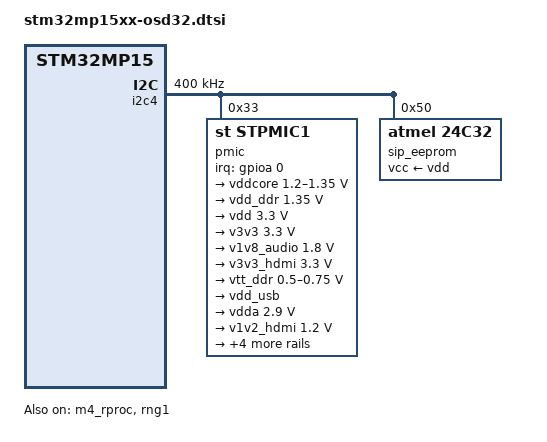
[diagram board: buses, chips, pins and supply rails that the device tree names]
/* SPDX-License-Identifier: (GPL-2.0-or-later OR BSD-3-Clause) */
/*
 * Copyright (C) 2020 STMicroelectronics - All Rights Reserved
 * Copyright (C) 2020 Ahmad Fatoum, Pengutronix
 */

#include "stm32mp15-pinctrl.dtsi"

#include <dt-bindings/mfd/st,stpmic1.h>

/ {
	reserved-memory {
		#address-cells = <1>;
		#size-cells = <1>;
		ranges;

		mcuram2: mcuram2@10000000 {
			compatible = "shared-dma-pool";
			reg = <0x10000000 0x40000>;
			no-map;
		};

		vdev0vring0: vdev0vring0@10040000 {
			compatible = "shared-dma-pool";
			reg = <0x10040000 0x1000>;
			no-map;
		};

		vdev0vring1: vdev0vring1@10041000 {
			compatible = "shared-dma-pool";
			reg = <0x10041000 0x1000>;
			no-map;
		};

		vdev0buffer: vdev0buffer@10042000 {
			compatible = "shared-dma-pool";
			reg = <0x10042000 0x4000>;
			no-map;
		};

		mcuram: mcuram@30000000 {
			compatible = "shared-dma-pool";
			reg = <0x30000000 0x40000>;
			no-map;
		};

		retram: retram@38000000 {
			compatible = "shared-dma-pool";
			reg = <0x38000000 0x10000>;
			no-map;
		};
	};
};

&i2c4 {
	pinctrl-names = "default", "sleep";
	pinctrl-0 = <&i2c4_pins_a>;
	pinctrl-1 = <&i2c4_sleep_pins_a>;
	clock-frequency = <400000>;
	i2c-scl-rising-time-ns = <185>;
	i2c-scl-falling-time-ns = <20>;
	status = "okay";

	pmic: stpmic@33 {
		compatible = "st,stpmic1";
		reg = <0x33>;
		interrupts-extended = <&gpioa 0 IRQ_TYPE_EDGE_FALLING>;
		interrupt-controller;
		#interrupt-cells = <2>;

		regulators {
			compatible = "st,stpmic1-regulators";

			ldo1-supply = <&v3v3>;
			ldo3-supply = <&vdd_ddr>;
			ldo6-supply = <&v3v3>;
			pwr_sw1-supply = <&bst_out>;

			vddcore: buck1 {
				regulator-name = "vddcore";
				regulator-min-microvolt = <1200000>;
				regulator-max-microvolt = <1350000>;
				regulator-always-on;
				regulator-initial-mode = <0>;
				regulator-over-current-protection;
			};

			vdd_ddr: buck2 {
				regulator-name = "vdd_ddr";
				regulator-min-microvolt = <1350000>;
				regulator-max-microvolt = <1350000>;
				regulator-always-on;
				regulator-initial-mode = <0>;
				regulator-over-current-protection;
			};

			vdd: buck3 {
				regulator-name = "vdd";
				regulator-min-microvolt = <3300000>;
				regulator-max-microvolt = <3300000>;
				regulator-always-on;
				st,mask-reset;
				regulator-initial-mode = <0>;
				regulator-over-current-protection;
			};

			v3v3: buck4 {
				regulator-name = "v3v3";
				regulator-min-microvolt = <3300000>;
				regulator-max-microvolt = <3300000>;
				regulator-always-on;
				regulator-over-current-protection;
				regulator-initial-mode = <0>;
			};

			v1v8_audio: ldo1 {
				regulator-name = "v1v8_audio";
				regulator-min-microvolt = <1800000>;
				regulator-max-microvolt = <1800000>;
				interrupts = <IT_CURLIM_LDO1 0>;
			};

			v3v3_hdmi: ldo2 {
				regulator-name = "v3v3_hdmi";
				regulator-min-microvolt = <3300000>;
				regulator-max-microvolt = <3300000>;
				interrupts = <IT_CURLIM_LDO2 0>;
			};

			vtt_ddr: ldo3 {
				regulator-name = "vtt_ddr";
				regulator-min-microvolt = <500000>;
				regulator-max-microvolt = <750000>;
				regulator-always-on;
				regulator-over-current-protection;
			};

			vdd_usb: ldo4 {
				regulator-name = "vdd_usb";
				interrupts = <IT_CURLIM_LDO4 0>;
			};

			vdda: ldo5 {
				regulator-name = "vdda";
				regulator-min-microvolt = <2900000>;
				regulator-max-microvolt = <2900000>;
				interrupts = <IT_CURLIM_LDO5 0>;
				regulator-boot-on;
			};

			v1v2_hdmi: ldo6 {
				regulator-name = "v1v2_hdmi";
				regulator-min-microvolt = <1200000>;
				regulator-max-microvolt = <1200000>;
				interrupts = <IT_CURLIM_LDO6 0>;
			};

			vref_ddr: vref_ddr {
				regulator-name = "vref_ddr";
				regulator-always-on;
			};

			bst_out: boost {
				regulator-name = "bst_out";
				interrupts = <IT_OCP_BOOST 0>;
			};

			vbus_otg: pwr_sw1 {
				regulator-name = "vbus_otg";
				interrupts = <IT_OCP_OTG 0>;
				regulator-active-discharge = <1>;
			};

			vbus_sw: pwr_sw2 {
				regulator-name = "vbus_sw";
				interrupts = <IT_OCP_SWOUT 0>;
				regulator-active-discharge = <1>;
			};
		};

		onkey {
			compatible = "st,stpmic1-onkey";
			interrupts = <IT_PONKEY_F 0>, <IT_PONKEY_R 1>;
			interrupt-names = "onkey-falling", "onkey-rising";
		};

		pmic_watchdog: watchdog {
			compatible = "st,stpmic1-wdt";
			status = "disabled";
		};
	};

	sip_eeprom: eeprom@50 {
		compatible = "atmel,24c32";
		vcc-supply = <&vdd>;
		reg = <0x50>;
	};
};

&ipcc {
	status = "okay";
};

&m4_rproc {
	memory-region = <&retram>, <&mcuram>, <&mcuram2>, <&vdev0vring0>,
			<&vdev0vring1>, <&vdev0buffer>;
	mboxes = <&ipcc 0>, <&ipcc 1>, <&ipcc 2>, <&ipcc 3>;
	mbox-names = "vq0", "vq1", "shutdown", "detach";
	interrupt-parent = <&exti>;
	interrupts = <68 1>;
	status = "okay";
};

&rng1 {
	status = "okay";
};

&pwr_regulators {
	vdd-supply = <&vdd>;
	vdd_3v3_usbfs-supply = <&vdd_usb>;
};

&usbphyc_port0 {
	phy-supply = <&vdd_usb>;
};

&usbphyc_port1 {
	phy-supply = <&vdd_usb>;
};
